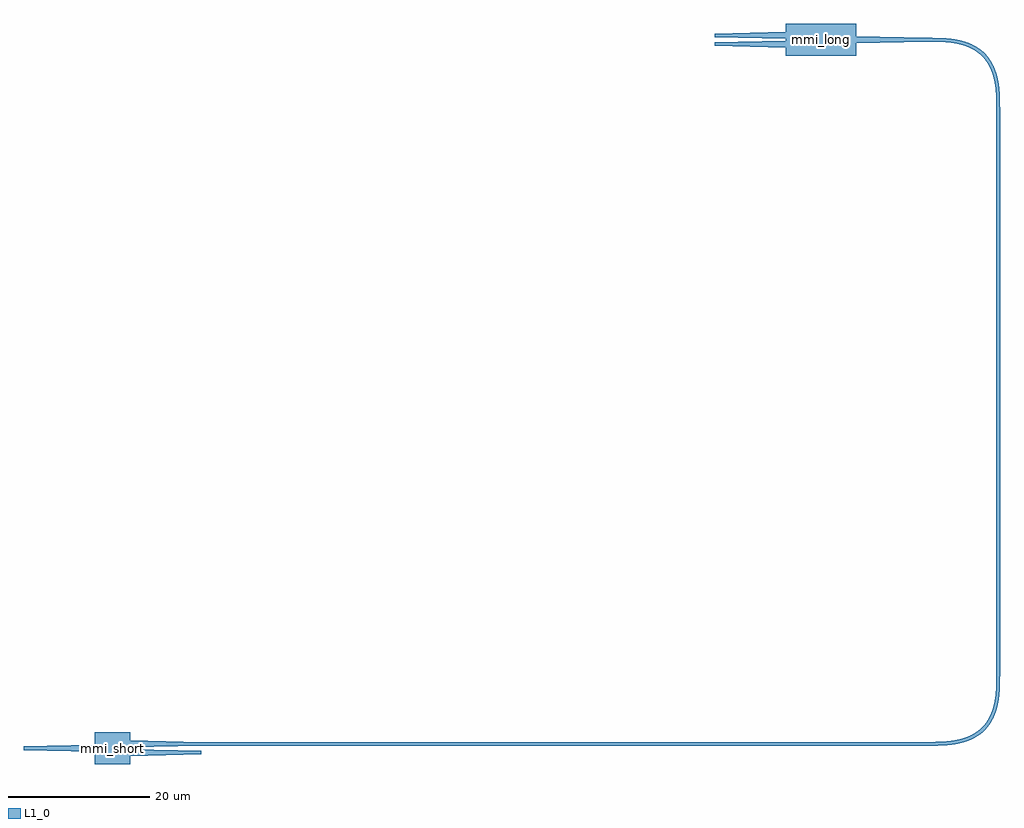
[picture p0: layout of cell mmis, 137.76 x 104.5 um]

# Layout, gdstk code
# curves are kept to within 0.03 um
from math import pi, radians
import gdstk
lib = gdstk.Library(unit=1e-6, precision=1e-09)
def R(c, l, rs):  # rectangles x0, y0, x1, y1
    for r in rs: c.add(gdstk.rectangle(r[:2], r[2:], *l))
def P(c, l, *ps):  # polygons
    for p in ps: c.add(gdstk.Polygon(p, *l))
L1_0 = (1, 0)

mmi1x2_length_mmi10_widt = lib.new_cell('mmi1x2_length_mmi10_width_mmi4p5')
R(mmi1x2_length_mmi10_widt, L1_0, [(-5,-2.25,5,2.25)])
P(mmi1x2_length_mmi10_widt, L1_0, [(15,-0.875),(5,-1.125),(5,-0.125),(15,-0.375)],
  [(15,0.375),(5,0.125),(5,1.125),(15,0.875)],
  [(-15,0.25),(-5,0.5),(-5,-0.5),(-15,-0.25)])

mmi1x2_length_mmi5_width = lib.new_cell('mmi1x2_length_mmi5_width_mmi4p5')
R(mmi1x2_length_mmi5_width, L1_0, [(-2.5,-2.25,2.5,2.25)])
P(mmi1x2_length_mmi5_width, L1_0, [(12.5,-0.875),(2.5,-1.125),(2.5,-0.125),(12.5,-0.375)],
  [(12.5,0.375),(2.5,0.125),(2.5,1.125),(12.5,0.875)],
  [(-12.5,0.25),(-2.5,0.5),(-2.5,-0.5),(-12.5,-0.25)])

bend_euler_cross_sectio_ = lib.new_cell('bend_euler_cross_sectio_a3a0edf9')
P(bend_euler_cross_sectio_, L1_0, [(0,-0.25),(1.602,-0.235),(2.93,-0.158),(3.973,-0.02),(4.865,0.175),(5.829,0.491),(6.664,0.882),(7.404,1.353),(8.073,1.927),(8.647,2.596),(9.118,3.336),(9.509,4.171),(9.825,5.135),(10.02,6.027),(10.158,7.07),(10.235,8.398),(10.25,10),(9.75,10),(9.731,8.272),(9.651,7.025),(9.494,5.933),(9.213,4.826),(8.921,4.063),(8.591,3.419),(8.163,2.785),(7.751,2.313),(7.215,1.837),(6.581,1.409),(5.937,1.079),(5.217,0.801),(4.247,0.542),(2.975,0.349),(1.728,0.269),(0,0.25)])

straight_cross_sectionc_ = lib.new_cell('straight_cross_sectionc_8432fe36')
R(straight_cross_sectionc_, L1_0, [(0,-0.25,102.51,0.25)])

c_straight_cross_sectionc_ = lib.new_cell('straight_cross_sectionc_a23002f5')
R(c_straight_cross_sectionc_, L1_0, [(0,-0.25,79.375,0.25)])

c_straight_cross_sectionc__ = lib.new_cell('straight_cross_sectionc_aca44847')
R(c_straight_cross_sectionc__, L1_0, [(0,-0.25,0.01,0.25)])

mmis = lib.new_cell('mmis')
mmis.add(gdstk.Reference(mmi1x2_length_mmi10_widt, (100,100), rotation=pi))
mmis.add(gdstk.Reference(mmi1x2_length_mmi5_width, (0,0)))
mmis.add(gdstk.Reference(bend_euler_cross_sectio_, (115.01,0.625)))
mmis.add(gdstk.Reference(bend_euler_cross_sectio_, (125.01,90), rotation=pi/2))
mmis.add(gdstk.Reference(straight_cross_sectionc_, (12.5,0.625)))
mmis.add(gdstk.Reference(c_straight_cross_sectionc_, (125.01,10.625), rotation=pi/2))
mmis.add(gdstk.Reference(c_straight_cross_sectionc__, (115.01,100), rotation=pi))
mmis.add(gdstk.Label('mmi_long', (100,100), layer=206, texttype=0))
mmis.add(gdstk.Label('mmi_short', (0,0), layer=206, texttype=0))

lib.write_gds('mmis.gds')
